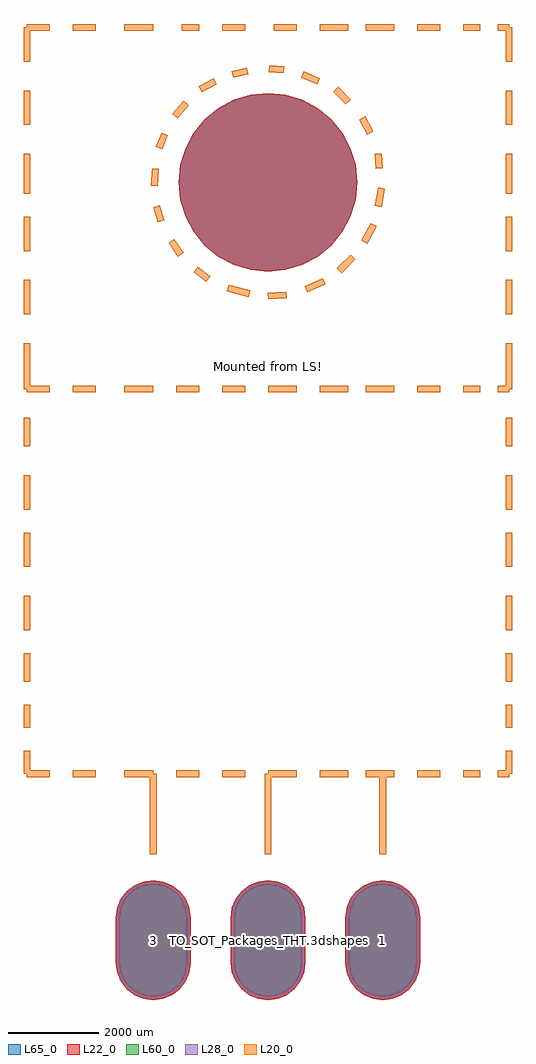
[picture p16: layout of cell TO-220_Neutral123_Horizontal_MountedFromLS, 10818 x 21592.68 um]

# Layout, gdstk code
import gdstk
lib = gdstk.Library(unit=1e-6, precision=1e-09)
def P(c, l, *ps):  # polygons
    for p in ps: c.add(gdstk.Polygon(p, *l))
L20_0 = (20, 0)
L22_0 = (22, 0)
L28_0 = (28, 0)
L60_0 = (60, 0)
L65_0 = (65, 0)

to_220_neutral123_horizo = lib.new_cell('TO-220_Neutral123_Horizontal_MountedFromLS')
P(to_220_neutral123_horizo, L22_0, [(1974.92,16764),(1936.972,17149.288),(1824.588,17519.769),(1642.086,17861.207),(1396.479,18160.479),(1097.207,18406.086),(755.769,18588.588),(385.288,18700.972),(0,18738.92),(-385.288,18700.972),(-755.769,18588.588),(-1097.207,18406.086),(-1396.479,18160.479),(-1642.086,17861.207),(-1824.588,17519.769),(-1936.972,17149.288),(-1974.92,16764),(-1936.972,16378.712),(-1824.588,16008.231),(-1642.086,15666.793),(-1396.479,15367.521),(-1097.207,15121.914),(-755.769,14939.412),(-385.288,14827.028),(0,14789.08),(385.288,14827.028),(755.769,14939.412),(1097.207,15121.914),(1396.479,15367.521),(1642.086,15666.793),(1824.588,16008.231),(1936.972,16378.712)],
  [(2540,-1324.68),(2753.673,-1296.549),(2952.785,-1214.075),(3123.766,-1082.876),(3254.965,-911.895),(3337.439,-712.783),(3365.57,-499.11),(3365.57,499.11),(3337.439,712.783),(3254.965,911.895),(3123.766,1082.876),(2952.785,1214.075),(2753.673,1296.549),(2540,1324.68),(2326.327,1296.549),(2127.215,1214.075),(1956.234,1082.876),(1825.035,911.895),(1742.561,712.783),(1714.43,499.11),(1714.43,-499.11),(1742.561,-712.783),(1825.035,-911.895),(1956.234,-1082.876),(2127.215,-1214.075),(2326.327,-1296.549)],
  [(-2540,-1324.68),(-2326.327,-1296.549),(-2127.215,-1214.075),(-1956.234,-1082.876),(-1825.035,-911.895),(-1742.561,-712.783),(-1714.43,-499.11),(-1714.43,499.11),(-1742.561,712.783),(-1825.035,911.895),(-1956.234,1082.876),(-2127.215,1214.075),(-2326.327,1296.549),(-2540,1324.68),(-2753.673,1296.549),(-2952.785,1214.075),(-3123.766,1082.876),(-3254.965,911.895),(-3337.439,712.783),(-3365.57,499.11),(-3365.57,-499.11),(-3337.439,-712.783),(-3254.965,-911.895),(-3123.766,-1082.876),(-2952.785,-1214.075),(-2753.673,-1296.549)],
  [(0,-1324.68),(213.673,-1296.549),(412.785,-1214.075),(583.766,-1082.876),(714.965,-911.895),(797.439,-712.783),(825.57,-499.11),(825.57,499.11),(797.439,712.783),(714.965,911.895),(583.766,1082.876),(412.785,1214.075),(213.673,1296.549),(0,1324.68),(-213.673,1296.549),(-412.785,1214.075),(-583.766,1082.876),(-714.965,911.895),(-797.439,712.783),(-825.57,499.11),(-825.57,-499.11),(-797.439,-712.783),(-714.965,-911.895),(-583.766,-1082.876),(-412.785,-1214.075),(-213.673,-1296.549)])
P(to_220_neutral123_horizo, L28_0, [(2540,-1249.68),(2734.262,-1224.105),(2915.285,-1149.123),(3070.733,-1029.843),(3190.013,-874.395),(3264.995,-693.372),(3290.57,-499.11),(3290.57,499.11),(3264.995,693.372),(3190.013,874.395),(3070.733,1029.843),(2915.285,1149.123),(2734.262,1224.105),(2540,1249.68),(2345.738,1224.105),(2164.715,1149.123),(2009.267,1029.843),(1889.987,874.395),(1815.005,693.372),(1789.43,499.11),(1789.43,-499.11),(1815.005,-693.372),(1889.987,-874.395),(2009.267,-1029.843),(2164.715,-1149.123),(2345.738,-1224.105)],
  [(-2540,-1249.68),(-2345.738,-1224.105),(-2164.715,-1149.123),(-2009.267,-1029.843),(-1889.987,-874.395),(-1815.005,-693.372),(-1789.43,-499.11),(-1789.43,499.11),(-1815.005,693.372),(-1889.987,874.395),(-2009.267,1029.843),(-2164.715,1149.123),(-2345.738,1224.105),(-2540,1249.68),(-2734.262,1224.105),(-2915.285,1149.123),(-3070.733,1029.843),(-3190.013,874.395),(-3264.995,693.372),(-3290.57,499.11),(-3290.57,-499.11),(-3264.995,-693.372),(-3190.013,-874.395),(-3070.733,-1029.843),(-2915.285,-1149.123),(-2734.262,-1224.105)],
  [(0,-1249.68),(194.262,-1224.105),(375.285,-1149.123),(530.733,-1029.843),(650.013,-874.395),(724.995,-693.372),(750.57,-499.11),(750.57,499.11),(724.995,693.372),(650.013,874.395),(530.733,1029.843),(375.285,1149.123),(194.262,1224.105),(0,1249.68),(-194.262,1224.105),(-375.285,1149.123),(-530.733,1029.843),(-650.013,874.395),(-724.995,693.372),(-750.57,499.11),(-750.57,-499.11),(-724.995,-693.372),(-650.013,-874.395),(-530.733,-1029.843),(-375.285,-1149.123),(-194.262,-1224.105)])
P(to_220_neutral123_horizo, L60_0, [(2540,-1249.68),(2734.262,-1224.105),(2915.285,-1149.123),(3070.733,-1029.843),(3190.013,-874.395),(3264.995,-693.372),(3290.57,-499.11),(3290.57,499.11),(3264.995,693.372),(3190.013,874.395),(3070.733,1029.843),(2915.285,1149.123),(2734.262,1224.105),(2540,1249.68),(2345.738,1224.105),(2164.715,1149.123),(2009.267,1029.843),(1889.987,874.395),(1815.005,693.372),(1789.43,499.11),(1789.43,-499.11),(1815.005,-693.372),(1889.987,-874.395),(2009.267,-1029.843),(2164.715,-1149.123),(2345.738,-1224.105)],
  [(-2540,-1249.68),(-2345.738,-1224.105),(-2164.715,-1149.123),(-2009.267,-1029.843),(-1889.987,-874.395),(-1815.005,-693.372),(-1789.43,-499.11),(-1789.43,499.11),(-1815.005,693.372),(-1889.987,874.395),(-2009.267,1029.843),(-2164.715,1149.123),(-2345.738,1224.105),(-2540,1249.68),(-2734.262,1224.105),(-2915.285,1149.123),(-3070.733,1029.843),(-3190.013,874.395),(-3264.995,693.372),(-3290.57,499.11),(-3290.57,-499.11),(-3264.995,-693.372),(-3190.013,-874.395),(-3070.733,-1029.843),(-2915.285,-1149.123),(-2734.262,-1224.105)],
  [(0,-1249.68),(194.262,-1224.105),(375.285,-1149.123),(530.733,-1029.843),(650.013,-874.395),(724.995,-693.372),(750.57,-499.11),(750.57,499.11),(724.995,693.372),(650.013,874.395),(530.733,1029.843),(375.285,1149.123),(194.262,1224.105),(0,1249.68),(-194.262,1224.105),(-375.285,1149.123),(-530.733,1029.843),(-650.013,874.395),(-724.995,693.372),(-750.57,499.11),(-750.57,-499.11),(-724.995,-693.372),(-650.013,-874.395),(-530.733,-1029.843),(-375.285,-1149.123),(-194.262,-1224.105)])
P(to_220_neutral123_horizo, L65_0, [(1974.92,16764),(1936.972,17149.288),(1824.588,17519.769),(1642.086,17861.207),(1396.479,18160.479),(1097.207,18406.086),(755.769,18588.588),(385.288,18700.972),(0,18738.92),(-385.288,18700.972),(-755.769,18588.588),(-1097.207,18406.086),(-1396.479,18160.479),(-1642.086,17861.207),(-1824.588,17519.769),(-1936.972,17149.288),(-1974.92,16764),(-1936.972,16378.712),(-1824.588,16008.231),(-1642.086,15666.793),(-1396.479,15367.521),(-1097.207,15121.914),(-755.769,14939.412),(-385.288,14827.028),(0,14789.08),(385.288,14827.028),(755.769,14939.412),(1097.207,15121.914),(1396.479,15367.521),(1642.086,15666.793),(1824.588,16008.231),(1936.972,16378.712)],
  [(2540,-1324.68),(2753.673,-1296.549),(2952.785,-1214.075),(3123.766,-1082.876),(3254.965,-911.895),(3337.439,-712.783),(3365.57,-499.11),(3365.57,499.11),(3337.439,712.783),(3254.965,911.895),(3123.766,1082.876),(2952.785,1214.075),(2753.673,1296.549),(2540,1324.68),(2326.327,1296.549),(2127.215,1214.075),(1956.234,1082.876),(1825.035,911.895),(1742.561,712.783),(1714.43,499.11),(1714.43,-499.11),(1742.561,-712.783),(1825.035,-911.895),(1956.234,-1082.876),(2127.215,-1214.075),(2326.327,-1296.549)],
  [(-2540,-1324.68),(-2326.327,-1296.549),(-2127.215,-1214.075),(-1956.234,-1082.876),(-1825.035,-911.895),(-1742.561,-712.783),(-1714.43,-499.11),(-1714.43,499.11),(-1742.561,712.783),(-1825.035,911.895),(-1956.234,1082.876),(-2127.215,1214.075),(-2326.327,1296.549),(-2540,1324.68),(-2753.673,1296.549),(-2952.785,1214.075),(-3123.766,1082.876),(-3254.965,911.895),(-3337.439,712.783),(-3365.57,499.11),(-3365.57,-499.11),(-3337.439,-712.783),(-3254.965,-911.895),(-3123.766,-1082.876),(-2952.785,-1214.075),(-2753.673,-1296.549)],
  [(0,-1324.68),(213.673,-1296.549),(412.785,-1214.075),(583.766,-1082.876),(714.965,-911.895),(797.439,-712.783),(825.57,-499.11),(825.57,499.11),(797.439,712.783),(714.965,911.895),(583.766,1082.876),(412.785,1214.075),(213.673,1296.549),(0,1324.68),(-213.673,1296.549),(-412.785,1214.075),(-583.766,1082.876),(-714.965,911.895),(-797.439,712.783),(-825.57,499.11),(-825.57,-499.11),(-797.439,-712.783),(-714.965,-911.895),(-583.766,-1082.876),(-412.785,-1214.075),(-213.673,-1296.549)])
to_220_neutral123_horizo.add(gdstk.FlexPath([(2540,3683),(2540,1905)], 149.998, ends="flush", simple_path=True, layer=20, datatype=0))  # L20_0
to_220_neutral123_horizo.add(gdstk.FlexPath([(0,3683),(0,1905)], 149.998, ends="flush", simple_path=True, layer=20, datatype=0))  # L20_0
to_220_neutral123_horizo.add(gdstk.FlexPath([(-2540,3683),(-2540,1905)], 149.998, ends="flush", simple_path=True, layer=20, datatype=0))  # L20_0
to_220_neutral123_horizo.add(gdstk.FlexPath([(-5334,3683),(-4826,3683)], 149.998, ends="flush", simple_path=True, layer=20, datatype=0))  # L20_0
to_220_neutral123_horizo.add(gdstk.FlexPath([(-4318,3683),(-3810,3683)], 149.998, ends="flush", simple_path=True, layer=20, datatype=0))  # L20_0
to_220_neutral123_horizo.add(gdstk.FlexPath([(-3175,3683),(-2540,3683)], 149.998, ends="flush", simple_path=True, layer=20, datatype=0))  # L20_0
to_220_neutral123_horizo.add(gdstk.FlexPath([(-2032,3683),(-1524,3683)], 149.998, ends="flush", simple_path=True, layer=20, datatype=0))  # L20_0
to_220_neutral123_horizo.add(gdstk.FlexPath([(-1016,3683),(-508,3683)], 149.998, ends="flush", simple_path=True, layer=20, datatype=0))  # L20_0
to_220_neutral123_horizo.add(gdstk.FlexPath([(0,3683),(635,3683)], 149.998, ends="flush", simple_path=True, layer=20, datatype=0))  # L20_0
to_220_neutral123_horizo.add(gdstk.FlexPath([(1143,3683),(1778,3683)], 149.998, ends="flush", simple_path=True, layer=20, datatype=0))  # L20_0
to_220_neutral123_horizo.add(gdstk.FlexPath([(2159,3683),(2794,3683)], 149.998, ends="flush", simple_path=True, layer=20, datatype=0))  # L20_0
to_220_neutral123_horizo.add(gdstk.FlexPath([(3302,3683),(3810,3683)], 149.998, ends="flush", simple_path=True, layer=20, datatype=0))  # L20_0
to_220_neutral123_horizo.add(gdstk.FlexPath([(4318,3683),(4699,3683)], 149.998, ends="flush", simple_path=True, layer=20, datatype=0))  # L20_0
to_220_neutral123_horizo.add(gdstk.FlexPath([(5080,3683),(5334,3683)], 149.998, ends="flush", simple_path=True, layer=20, datatype=0))  # L20_0
to_220_neutral123_horizo.add(gdstk.FlexPath([(-5334,12192),(-4826,12192)], 149.998, ends="flush", simple_path=True, layer=20, datatype=0))  # L20_0
to_220_neutral123_horizo.add(gdstk.FlexPath([(-4318,12192),(-3810,12192)], 149.998, ends="flush", simple_path=True, layer=20, datatype=0))  # L20_0
to_220_neutral123_horizo.add(gdstk.FlexPath([(-3175,12192),(-2540,12192)], 149.998, ends="flush", simple_path=True, layer=20, datatype=0))  # L20_0
to_220_neutral123_horizo.add(gdstk.FlexPath([(-2032,12192),(-1524,12192)], 149.998, ends="flush", simple_path=True, layer=20, datatype=0))  # L20_0
to_220_neutral123_horizo.add(gdstk.FlexPath([(-1016,12192),(-508,12192)], 149.998, ends="flush", simple_path=True, layer=20, datatype=0))  # L20_0
to_220_neutral123_horizo.add(gdstk.FlexPath([(0,12192),(635,12192)], 149.998, ends="flush", simple_path=True, layer=20, datatype=0))  # L20_0
to_220_neutral123_horizo.add(gdstk.FlexPath([(1143,12192),(1778,12192)], 149.998, ends="flush", simple_path=True, layer=20, datatype=0))  # L20_0
to_220_neutral123_horizo.add(gdstk.FlexPath([(2159,12192),(2794,12192)], 149.998, ends="flush", simple_path=True, layer=20, datatype=0))  # L20_0
to_220_neutral123_horizo.add(gdstk.FlexPath([(3302,12192),(3810,12192)], 149.998, ends="flush", simple_path=True, layer=20, datatype=0))  # L20_0
to_220_neutral123_horizo.add(gdstk.FlexPath([(4318,12192),(4699,12192)], 149.998, ends="flush", simple_path=True, layer=20, datatype=0))  # L20_0
to_220_neutral123_horizo.add(gdstk.FlexPath([(5080,12192),(5334,12192)], 149.998, ends="flush", simple_path=True, layer=20, datatype=0))  # L20_0
to_220_neutral123_horizo.add(gdstk.FlexPath([(-5334,20193),(-4826,20193)], 149.998, ends="flush", simple_path=True, layer=20, datatype=0))  # L20_0
to_220_neutral123_horizo.add(gdstk.FlexPath([(-4318,20193),(-3810,20193)], 149.998, ends="flush", simple_path=True, layer=20, datatype=0))  # L20_0
to_220_neutral123_horizo.add(gdstk.FlexPath([(-3175,20193),(-2540,20193)], 149.998, ends="flush", simple_path=True, layer=20, datatype=0))  # L20_0
to_220_neutral123_horizo.add(gdstk.FlexPath([(-1905,20193),(-1524,20193)], 149.998, ends="flush", simple_path=True, layer=20, datatype=0))  # L20_0
to_220_neutral123_horizo.add(gdstk.FlexPath([(-1016,20193),(-508,20193)], 149.998, ends="flush", simple_path=True, layer=20, datatype=0))  # L20_0
to_220_neutral123_horizo.add(gdstk.FlexPath([(127,20193),(635,20193)], 149.998, ends="flush", simple_path=True, layer=20, datatype=0))  # L20_0
to_220_neutral123_horizo.add(gdstk.FlexPath([(1143,20193),(1778,20193)], 149.998, ends="flush", simple_path=True, layer=20, datatype=0))  # L20_0
to_220_neutral123_horizo.add(gdstk.FlexPath([(2159,20193),(2794,20193)], 149.998, ends="flush", simple_path=True, layer=20, datatype=0))  # L20_0
to_220_neutral123_horizo.add(gdstk.FlexPath([(3302,20193),(3810,20193)], 149.998, ends="flush", simple_path=True, layer=20, datatype=0))  # L20_0
to_220_neutral123_horizo.add(gdstk.FlexPath([(4318,20193),(4699,20193)], 149.998, ends="flush", simple_path=True, layer=20, datatype=0))  # L20_0
to_220_neutral123_horizo.add(gdstk.FlexPath([(5080,20193),(5334,20193)], 149.998, ends="flush", simple_path=True, layer=20, datatype=0))  # L20_0
to_220_neutral123_horizo.add(gdstk.FlexPath([(5334,20193),(5334,19431)], 149.998, ends="flush", simple_path=True, layer=20, datatype=0))  # L20_0
to_220_neutral123_horizo.add(gdstk.FlexPath([(5334,18796),(5334,18034)], 149.998, ends="flush", simple_path=True, layer=20, datatype=0))  # L20_0
to_220_neutral123_horizo.add(gdstk.FlexPath([(5334,17399),(5334,16510)], 149.998, ends="flush", simple_path=True, layer=20, datatype=0))  # L20_0
to_220_neutral123_horizo.add(gdstk.FlexPath([(5334,16002),(5334,15240)], 149.998, ends="flush", simple_path=True, layer=20, datatype=0))  # L20_0
to_220_neutral123_horizo.add(gdstk.FlexPath([(5334,14605),(5334,13843)], 149.998, ends="flush", simple_path=True, layer=20, datatype=0))  # L20_0
to_220_neutral123_horizo.add(gdstk.FlexPath([(5334,13208),(5334,12192)], 149.998, ends="flush", simple_path=True, layer=20, datatype=0))  # L20_0
to_220_neutral123_horizo.add(gdstk.FlexPath([(5334,11557),(5334,10922)], 149.998, ends="flush", simple_path=True, layer=20, datatype=0))  # L20_0
to_220_neutral123_horizo.add(gdstk.FlexPath([(5334,10287),(5334,9525)], 149.998, ends="flush", simple_path=True, layer=20, datatype=0))  # L20_0
to_220_neutral123_horizo.add(gdstk.FlexPath([(5334,9017),(5334,8255)], 149.998, ends="flush", simple_path=True, layer=20, datatype=0))  # L20_0
to_220_neutral123_horizo.add(gdstk.FlexPath([(5334,7620),(5334,6858)], 149.998, ends="flush", simple_path=True, layer=20, datatype=0))  # L20_0
to_220_neutral123_horizo.add(gdstk.FlexPath([(5334,6350),(5334,5715)], 149.998, ends="flush", simple_path=True, layer=20, datatype=0))  # L20_0
to_220_neutral123_horizo.add(gdstk.FlexPath([(5334,5207),(5334,4699)], 149.998, ends="flush", simple_path=True, layer=20, datatype=0))  # L20_0
to_220_neutral123_horizo.add(gdstk.FlexPath([(5334,4191),(5334,3683)], 149.998, ends="flush", simple_path=True, layer=20, datatype=0))  # L20_0
to_220_neutral123_horizo.add(gdstk.FlexPath([(-5334,20193),(-5334,19431)], 149.998, ends="flush", simple_path=True, layer=20, datatype=0))  # L20_0
to_220_neutral123_horizo.add(gdstk.FlexPath([(-5334,18796),(-5334,18034)], 149.998, ends="flush", simple_path=True, layer=20, datatype=0))  # L20_0
to_220_neutral123_horizo.add(gdstk.FlexPath([(-5334,17399),(-5334,16510)], 149.998, ends="flush", simple_path=True, layer=20, datatype=0))  # L20_0
to_220_neutral123_horizo.add(gdstk.FlexPath([(-5334,16002),(-5334,15240)], 149.998, ends="flush", simple_path=True, layer=20, datatype=0))  # L20_0
to_220_neutral123_horizo.add(gdstk.FlexPath([(-5334,14605),(-5334,13843)], 149.998, ends="flush", simple_path=True, layer=20, datatype=0))  # L20_0
to_220_neutral123_horizo.add(gdstk.FlexPath([(-5334,13208),(-5334,12192)], 149.998, ends="flush", simple_path=True, layer=20, datatype=0))  # L20_0
to_220_neutral123_horizo.add(gdstk.FlexPath([(-5334,11557),(-5334,10922)], 149.998, ends="flush", simple_path=True, layer=20, datatype=0))  # L20_0
to_220_neutral123_horizo.add(gdstk.FlexPath([(-5334,10287),(-5334,9525)], 149.998, ends="flush", simple_path=True, layer=20, datatype=0))  # L20_0
to_220_neutral123_horizo.add(gdstk.FlexPath([(-5334,9017),(-5334,8255)], 149.998, ends="flush", simple_path=True, layer=20, datatype=0))  # L20_0
to_220_neutral123_horizo.add(gdstk.FlexPath([(-5334,7620),(-5334,6858)], 149.998, ends="flush", simple_path=True, layer=20, datatype=0))  # L20_0
to_220_neutral123_horizo.add(gdstk.FlexPath([(-5334,6350),(-5334,5715)], 149.998, ends="flush", simple_path=True, layer=20, datatype=0))  # L20_0
to_220_neutral123_horizo.add(gdstk.FlexPath([(-5334,5207),(-5334,4699)], 149.998, ends="flush", simple_path=True, layer=20, datatype=0))  # L20_0
to_220_neutral123_horizo.add(gdstk.FlexPath([(-5334,4191),(-5334,3683)], 149.998, ends="flush", simple_path=True, layer=20, datatype=0))  # L20_0
to_220_neutral123_horizo.add(gdstk.FlexPath([(25.4,19278.6),(355.6,19253.2)], 149.998, ends="flush", simple_path=True, layer=20, datatype=0))  # L20_0
to_220_neutral123_horizo.add(gdstk.FlexPath([(762,19151.6),(1117.6,18999.2)], 149.998, ends="flush", simple_path=True, layer=20, datatype=0))  # L20_0
to_220_neutral123_horizo.add(gdstk.FlexPath([(1498.6,18821.4),(1778,18542)], 149.998, ends="flush", simple_path=True, layer=20, datatype=0))  # L20_0
to_220_neutral123_horizo.add(gdstk.FlexPath([(2082.8,18186.4),(2260.6,17856.2)], 149.998, ends="flush", simple_path=True, layer=20, datatype=0))  # L20_0
to_220_neutral123_horizo.add(gdstk.FlexPath([(2438.4,17399),(2463.8,17068.8)], 149.998, ends="flush", simple_path=True, layer=20, datatype=0))  # L20_0
to_220_neutral123_horizo.add(gdstk.FlexPath([(2514.6,16637),(2438.4,16230.6)], 149.998, ends="flush", simple_path=True, layer=20, datatype=0))  # L20_0
to_220_neutral123_horizo.add(gdstk.FlexPath([(2336.8,15824.2),(2133.6,15443.2)], 149.998, ends="flush", simple_path=True, layer=20, datatype=0))  # L20_0
to_220_neutral123_horizo.add(gdstk.FlexPath([(1879.6,15113),(1574.8,14808.2)], 149.998, ends="flush", simple_path=True, layer=20, datatype=0))  # L20_0
to_220_neutral123_horizo.add(gdstk.FlexPath([(1244.6,14579.6),(838.2,14401.8)], 149.998, ends="flush", simple_path=True, layer=20, datatype=0))  # L20_0
to_220_neutral123_horizo.add(gdstk.FlexPath([(406.4,14274.8),(0,14249.4)], 149.998, ends="flush", simple_path=True, layer=20, datatype=0))  # L20_0
to_220_neutral123_horizo.add(gdstk.FlexPath([(-406.4,14300.2),(-889,14427.2)], 149.998, ends="flush", simple_path=True, layer=20, datatype=0))  # L20_0
to_220_neutral123_horizo.add(gdstk.FlexPath([(-1320.8,14630.4),(-1600.2,14833.6)], 149.998, ends="flush", simple_path=True, layer=20, datatype=0))  # L20_0
to_220_neutral123_horizo.add(gdstk.FlexPath([(-1930.4,15163.8),(-2133.6,15468.6)], 149.998, ends="flush", simple_path=True, layer=20, datatype=0))  # L20_0
to_220_neutral123_horizo.add(gdstk.FlexPath([(-2362.2,15900.4),(-2463.8,16230.6)], 149.998, ends="flush", simple_path=True, layer=20, datatype=0))  # L20_0
to_220_neutral123_horizo.add(gdstk.FlexPath([(-2514.6,16687.8),(-2489.2,17068.8)], 149.998, ends="flush", simple_path=True, layer=20, datatype=0))  # L20_0
to_220_neutral123_horizo.add(gdstk.FlexPath([(-2413,17526),(-2286,17830.8)], 149.998, ends="flush", simple_path=True, layer=20, datatype=0))  # L20_0
to_220_neutral123_horizo.add(gdstk.FlexPath([(-2057.4,18237.2),(-1803.4,18516.6)], 149.998, ends="flush", simple_path=True, layer=20, datatype=0))  # L20_0
to_220_neutral123_horizo.add(gdstk.FlexPath([(-1498.6,18821.4),(-1168.4,18999.2)], 149.998, ends="flush", simple_path=True, layer=20, datatype=0))  # L20_0
to_220_neutral123_horizo.add(gdstk.FlexPath([(-787.4,19151.6),(-457.2,19227.8)], 149.998, ends="flush", simple_path=True, layer=20, datatype=0))  # L20_0
to_220_neutral123_horizo.add(gdstk.Label('TO_SOT_Packages_THT.3dshapes/TO-220_Neutral123_Horizontal_MountedFromLS.wrl', (0,0), layer=12, texttype=0))
to_220_neutral123_horizo.add(gdstk.Label('1', (2540,0), layer=28, texttype=0))
to_220_neutral123_horizo.add(gdstk.Label('3', (-2540,0), layer=28, texttype=0))
to_220_neutral123_horizo.add(gdstk.Label('2', (0,0), layer=28, texttype=0))
to_220_neutral123_horizo.add(gdstk.Label('Mounted from LS!', (0,12700), layer=9, texttype=0))
to_220_neutral123_horizo.add(gdstk.Label('type', (99.06,-3850.64), layer=9, texttype=0))
to_220_neutral123_horizo.add(gdstk.Label('devicename', (-248.92,22499.32), layer=9, texttype=0))

lib.write_gds('TO-220_Neutral123_Horizontal_MountedFromLS.gds')
